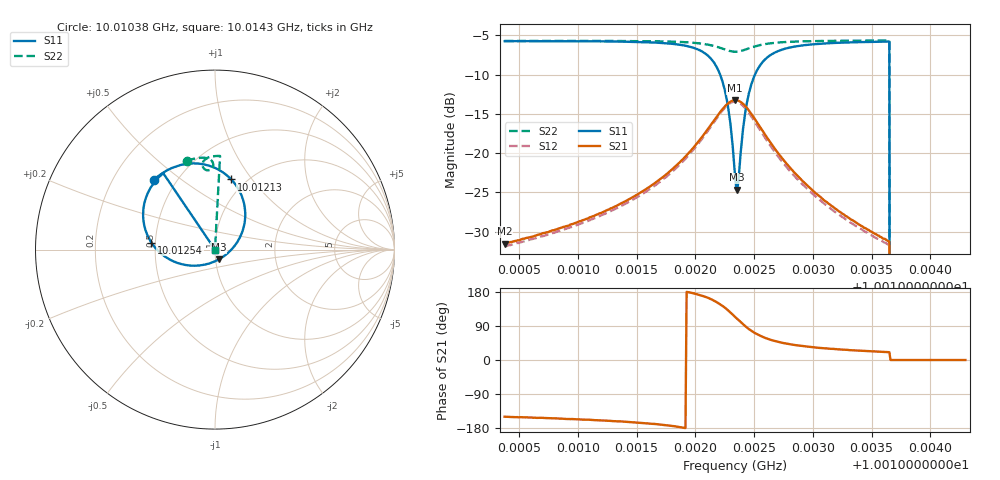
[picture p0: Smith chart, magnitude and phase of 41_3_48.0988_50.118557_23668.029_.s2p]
#  HZ  S  RI  R  50.00
! Rohde & Schwarz Vector Network Analyzer
! Rohde-Schwarz,ZNB20-2Port,1311601062101988,3.16
! Created: UTC 12/23/2023, 3:38:44 AM
! freq[Hz]  re:S11  im:S11  re:S21  im:S21  re:S12  im:S12  re:S22  im:S22
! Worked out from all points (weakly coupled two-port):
!   401 points, 10.01038 GHz to 10.0143 GHz, reference 50 ohm
!   highest |S21| = -13.25 dB at 10.01234 GHz (marker M1); lowest = -31.5 dB at 10.01038 GHz (marker M2)
!   lowest |S11| = -24.7 dB at 10.01236 GHz (marker M3), VSWR 1.12, Z = 51.9 - j5.67 ohm
!   |S11| at or under -10 dB: 10.01221 GHz to 10.01251 GHz (295.7 kHz wide, 0.00295 % of centre); 10.01365 GHz to end of sweep
!   |S22| runs from - to -5.6 dB; largest |S21 - S12| = 0.0098
!   S11 on the Smith chart (normalised r, x): 10.01038 GHz: 0.38, +0.40; 10.01213 GHz: 0.86, +0.80; 10.01254 GHz: 0.48, +0.04; 10.0143 GHz: 1.00, +0.00
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1.0010377e10  -0.3422 0.3881  -0.023 -0.0134  -0.0214 -0.0141  -0.1578 0.4948
1.0011034e10  -0.2859 0.4307  -0.0344 -0.0144  -0.0322 -0.0155  -0.1138 0.5069
1.0011416e10  -0.2333 0.4576  -0.0478 -0.0145  -0.0453 -0.0161  -0.0855 0.5114
1.0011691e10  -0.1706 0.4756  -0.0665 -0.0118  -0.0633 -0.0147  -0.0621 0.5123
1.0011975e10  -0.0415 0.4699  -0.1063 0.00607  -0.1033 0.000418  -0.0319 0.5051
1.0012132e10  0.0905 0.3907  -0.1429 0.0496  -0.1418 0.0409  -0.0135 0.4873
1.0012201e10  0.1503 0.2951  -0.1531 0.0915  -0.1544 0.0821  -0.00966 0.472
1.001226e10  0.1672 0.1665  -0.1454 0.1396  -0.1484 0.1307  -0.014 0.456
1.0012299e10  0.139 0.0683  -0.1238 0.173  -0.1279 0.1652  -0.023 0.4465
1.0012338e10  0.069 -0.0216  -0.0883 0.1989  -0.0936 0.1915  -0.036 0.4418
1.0012358e10  0.0217 -0.0544  -0.0676 0.2061  -0.0724 0.1991  -0.043 0.4416
1.0012377e10  -0.0303 -0.0768  -0.0468 0.2089  -0.0507 0.2024  -0.0497 0.4433
1.0012416e10  -0.1371 -0.0891  -0.0061 0.2031  -0.0108 0.1964  -0.0609 0.4506
1.0012446e10  -0.2087 -0.0744  0.0198 0.1907  0.0141 0.1845  -0.0662 0.458
1.0012485e10  -0.2839 -0.0351  0.0441 0.1691  0.0377 0.1636  -0.0695 0.4686
1.0012544e10  -0.354 0.0389  0.0625 0.1362  0.0558 0.1319  -0.0684 0.4823
1.001274e10  -0.3991 0.2236  0.0651 0.066  0.0595 0.0652  -0.0488 0.5071
1.0012995e10  -0.3669 0.3302  0.0483 0.0328  0.0443 0.0331  -0.0236 0.5172
1.0013632e10  -0.2905 0.4243  0.026 0.00993  0.0241 0.0108  0.0269 0.5219
1.0013652e10  -0.2886 0.4259  0.0257 0.00965  0.0238 0.0105  0.0282 0.5217
1.0013681e10  0 0  0 0  0 0  0 0
1.0014299e10  0 0  0 0  0 0  0 0
